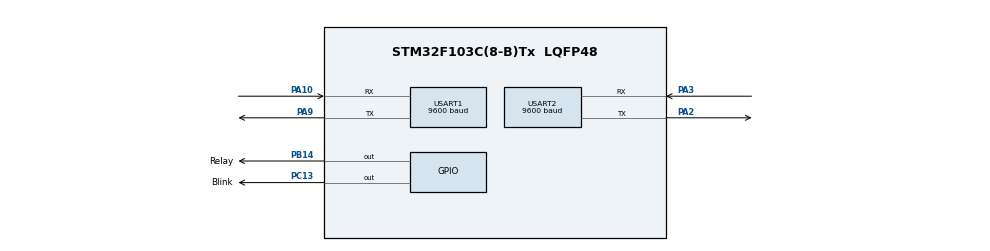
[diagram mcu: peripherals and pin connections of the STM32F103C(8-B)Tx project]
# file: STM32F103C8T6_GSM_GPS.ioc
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Mcu.Family=STM32F1
Mcu.Name=STM32F103C(8-B)Tx
Mcu.Package=LQFP48
NVIC.PriorityGroup=NVIC_PRIORITYGROUP_4
NVIC.TIM1_UP_IRQn=true\:0\:0\:false\:false\:true\:true\:true\:true
PA10.Mode=Asynchronous
PA10.Signal=USART1_RX
PA13.Mode=Serial_Wire
PA13.Signal=SYS_JTMS-SWDIO
PA14.Mode=Serial_Wire
PA14.Signal=SYS_JTCK-SWCLK
PA2.Mode=Asynchronous
PA2.Signal=USART2_TX
PA3.Mode=Asynchronous
PA3.Signal=USART2_RX
PA9.Mode=Asynchronous
PA9.Signal=USART1_TX
PB14.GPIO_Label=Relay
PB14.Signal=GPIO_Output
PC13-TAMPER-RTC.GPIO_Label=Blink
PC13-TAMPER-RTC.Signal=GPIO_Output
PD0-OSC_IN.Mode=HSE-External-Oscillator
PD0-OSC_IN.Signal=RCC_OSC_IN
PD1-OSC_OUT.Mode=HSE-External-Oscillator
PD1-OSC_OUT.Signal=RCC_OSC_OUT
ProjectManager.HeapSize=0x200
ProjectManager.StackSize=0x400
ProjectManager.TargetToolchain=STM32CubeIDE
RCC.APB1Freq_Value=8000000
RCC.APB2Freq_Value=8000000
RCC.PLLSourceVirtual=RCC_PLLSOURCE_HSE
RCC.SYSCLKSource=RCC_SYSCLKSOURCE_HSE
RCC.USBFreq_Value=16000000
TIM1.AutoReloadPreload=TIM_AUTORELOAD_PRELOAD_DISABLE
TIM1.Period=999
TIM1.Prescaler=7999
USART1.BaudRate=9600
USART1.VirtualMode=VM_ASYNC
USART2.BaudRate=9600
USART2.VirtualMode=VM_ASYNC
VP_TIM1_VS_ClockSourceINT.Mode=Internal
board=custom

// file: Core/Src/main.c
/* USER CODE BEGIN Header */
/**
  ******************************************************************************
  * @file           : main.c
  * @brief          : Main program body
  ******************************************************************************
  * @attention
  *
  * Copyright (c) 2023 STMicroelectronics.
  * All rights reserved.
  *
  * This software is licensed under terms that can be found in the LICENSE file
  * in the root directory of this software component.
  * If no LICENSE file comes with this software, it is provided AS-IS.
  *
  ******************************************************************************
  */
/* USER CODE END Header */
#include "main.h"

/* USER CODE BEGIN Includes */
#include <GPS.h>
#include <SIM800.h>
/* USER CODE END Includes */

TIM_HandleTypeDef htim1;

UART_HandleTypeDef huart1;
UART_HandleTypeDef huart2;

/* USER CODE BEGIN PV */
char Buffer[500];
char Data[100];
char RxBuffer[25];
char ReOrder[10];
/* USER CODE END PV */

void SystemClock_Config(void);
static void MX_GPIO_Init(void);
static void MX_USART1_UART_Init(void);
static void MX_USART2_UART_Init(void);
static void MX_TIM1_Init(void);

/* USER CODE BEGIN 0 */
void HAL_TIM_PeriodElapsedCallback(TIM_HandleTypeDef *htim)
{
	//if(htim->Instance == htim1.Instance)
	if(htim == &htim1)
	{
		HAL_GPIO_TogglePin(Blink_GPIO_Port,Blink_Pin);
		Set_Time();
		Set_Location();
		test();
	}
}

void HAL_UART_RxCpltCallback(UART_HandleTypeDef *huart)
{
	if(huart == &huart1)
	{

	}
	HAL_UART_Receive_IT(&huart1, RxBuffer,20);

}

/* USER CODE END 0 */

int main(void)
{

  /* MCU Configuration--------------------------------------------------------*/

  /* Reset of all peripherals, Initializes the Flash interface and the Systick. */
  HAL_Init();

  /* Configure the system clock */
  SystemClock_Config();

  /* Initialize all configured peripherals */
  MX_GPIO_Init();
  MX_USART1_UART_Init();
  MX_USART2_UART_Init();
  MX_TIM1_Init();
  /* USER CODE BEGIN 2 */

  HAL_TIM_Base_Start_IT(&htim1);
  HAL_UART_Receive_IT(&huart1, RxBuffer,20);
  SIM800_Init();
  memset(Data,0,100);
  /* USER CODE END 2 */

  /* Infinite loop */
  while (1)
  {

    /* USER CODE BEGIN 3 */

	  HAL_Delay(1000);
	  //HAL_GPIO_TogglePin(Blink_GPIO_Port,Blink_Pin);
	  for(int i=0;i<10;i++)
	  {
		  SIM800l_Send_Data(i);
		  HAL_Delay(1250);
	  }
	  Get_GGA();
	  Get_RMC();

  }
  /* USER CODE END 3 */
}

void SystemClock_Config(void)
{
  RCC_OscInitTypeDef RCC_OscInitStruct = {0};
  RCC_ClkInitTypeDef RCC_ClkInitStruct = {0};

  /** Initializes the RCC Oscillators according to the specified parameters
  * in the RCC_OscInitTypeDef structure.
  */
  RCC_OscInitStruct.OscillatorType = RCC_OSCILLATORTYPE_HSE;
  RCC_OscInitStruct.HSEState = RCC_HSE_ON;
  RCC_OscInitStruct.PLL.PLLState = RCC_PLL_NONE;
  if (HAL_RCC_OscConfig(&RCC_OscInitStruct) != HAL_OK)
  {
    Error_Handler();
  }

  /** Initializes the CPU, AHB and APB buses clocks
  */
  RCC_ClkInitStruct.ClockType = RCC_CLOCKTYPE_HCLK|RCC_CLOCKTYPE_SYSCLK
                              |RCC_CLOCKTYPE_PCLK1|RCC_CLOCKTYPE_PCLK2;
  RCC_ClkInitStruct.SYSCLKSource = RCC_SYSCLKSOURCE_HSE;
  RCC_ClkInitStruct.AHBCLKDivider = RCC_SYSCLK_DIV1;
  RCC_ClkInitStruct.APB1CLKDivider = RCC_HCLK_DIV1;
  RCC_ClkInitStruct.APB2CLKDivider = RCC_HCLK_DIV1;

  if (HAL_RCC_ClockConfig(&RCC_ClkInitStruct, FLASH_LATENCY_0) != HAL_OK)
  {
    Error_Handler();
  }
}

static void MX_TIM1_Init(void)
{

  TIM_ClockConfigTypeDef sClockSourceConfig = {0};
  TIM_MasterConfigTypeDef sMasterConfig = {0};

  htim1.Instance = TIM1;
  htim1.Init.Prescaler = 7999;
  htim1.Init.CounterMode = TIM_COUNTERMODE_UP;
  htim1.Init.Period = 999;
  htim1.Init.ClockDivision = TIM_CLOCKDIVISION_DIV1;
  htim1.Init.RepetitionCounter = 0;
  htim1.Init.AutoReloadPreload = TIM_AUTORELOAD_PRELOAD_DISABLE;
  if (HAL_TIM_Base_Init(&htim1) != HAL_OK)
  {
    Error_Handler();
  }
  sClockSourceConfig.ClockSource = TIM_CLOCKSOURCE_INTERNAL;
  if (HAL_TIM_ConfigClockSource(&htim1, &sClockSourceConfig) != HAL_OK)
  {
    Error_Handler();
  }
  sMasterConfig.MasterOutputTrigger = TIM_TRGO_RESET;
  sMasterConfig.MasterSlaveMode = TIM_MASTERSLAVEMODE_DISABLE;
  if (HAL_TIMEx_MasterConfigSynchronization(&htim1, &sMasterConfig) != HAL_OK)
  {
    Error_Handler();
  }

}

static void MX_USART1_UART_Init(void)
{

  huart1.Instance = USART1;
  huart1.Init.BaudRate = 9600;
  huart1.Init.WordLength = UART_WORDLENGTH_8B;
  huart1.Init.StopBits = UART_STOPBITS_1;
  huart1.Init.Parity = UART_PARITY_NONE;
  huart1.Init.Mode = UART_MODE_TX_RX;
  huart1.Init.HwFlowCtl = UART_HWCONTROL_NONE;
  huart1.Init.OverSampling = UART_OVERSAMPLING_16;
  if (HAL_UART_Init(&huart1) != HAL_OK)
  {
    Error_Handler();
  }

}

static void MX_USART2_UART_Init(void)
{

  huart2.Instance = USART2;
  huart2.Init.BaudRate = 9600;
  huart2.Init.WordLength = UART_WORDLENGTH_8B;
  huart2.Init.StopBits = UART_STOPBITS_1;
  huart2.Init.Parity = UART_PARITY_NONE;
  huart2.Init.Mode = UART_MODE_TX_RX;
  huart2.Init.HwFlowCtl = UART_HWCONTROL_NONE;
  huart2.Init.OverSampling = UART_OVERSAMPLING_16;
  if (HAL_UART_Init(&huart2) != HAL_OK)
  {
    Error_Handler();
  }

}

static void MX_GPIO_Init(void)
{
  GPIO_InitTypeDef GPIO_InitStruct = {0};

  /* GPIO Ports Clock Enable */
  __HAL_RCC_GPIOC_CLK_ENABLE();
  __HAL_RCC_GPIOD_CLK_ENABLE();
  __HAL_RCC_GPIOA_CLK_ENABLE();
  __HAL_RCC_GPIOB_CLK_ENABLE();

  /*Configure GPIO pin Output Level */
  HAL_GPIO_WritePin(Blink_GPIO_Port, Blink_Pin, GPIO_PIN_RESET);

  /*Configure GPIO pin Output Level */
  HAL_GPIO_WritePin(Relay_GPIO_Port, Relay_Pin, GPIO_PIN_RESET);

  /*Configure GPIO pin : Blink_Pin */
  GPIO_InitStruct.Pin = Blink_Pin;
  GPIO_InitStruct.Mode = GPIO_MODE_OUTPUT_PP;
  GPIO_InitStruct.Pull = GPIO_NOPULL;
  GPIO_InitStruct.Speed = GPIO_SPEED_FREQ_LOW;
  HAL_GPIO_Init(Blink_GPIO_Port, &GPIO_InitStruct);

  /*Configure GPIO pin : Relay_Pin */
  GPIO_InitStruct.Pin = Relay_Pin;
  GPIO_InitStruct.Mode = GPIO_MODE_OUTPUT_PP;
  GPIO_InitStruct.Pull = GPIO_NOPULL;
  GPIO_InitStruct.Speed = GPIO_SPEED_FREQ_LOW;
  HAL_GPIO_Init(Relay_GPIO_Port, &GPIO_InitStruct);

}

void Error_Handler(void)
{
  __disable_irq();
  while (1)
  {
  }
}
